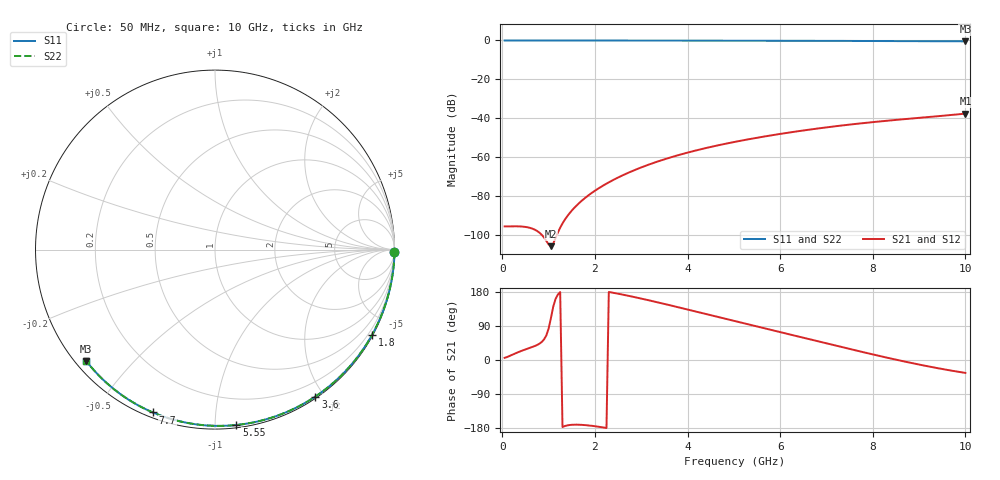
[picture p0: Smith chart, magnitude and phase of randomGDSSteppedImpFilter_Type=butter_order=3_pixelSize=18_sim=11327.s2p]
! freq	dB(S11)	phase(S11)	dB(S12)	phase(S12)
!  dB(S21)	phase(S21)	dB(S22)	phase(S22)
!S-par simulation data
#  GHz  S  DB  R 50
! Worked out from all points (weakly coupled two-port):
!   200 points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, 50 MHz to 10 GHz, reference 50 ohm
!   highest |S21| = -37.71 dB at 10 GHz (marker M1); lowest = -106.0 dB at 1.05 GHz (marker M2)
!   lowest |S11| = -0.5 dB at 10 GHz (marker M3), VSWR 38.14, Z = 1.49 - j18.7 ohm
!   |S11| at or under -10 dB: nowhere
!   |S22| runs from -0.5 to 0.0 dB; largest |S21 - S12| = 0
!   S11 on the Smith chart (normalised r, x): 50 MHz: open; 1.8 GHz: 0.03, -3.94; 3.6 GHz: 0.02, -1.89; 5.55 GHz: 0.02, -1.13; 7.7 GHz: 0.02, -0.69; 10 GHz: 0.03, -0.37
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0.05  -0.00 -0.8  -95.84 5.6  -95.84 5.6  -0.00 -0.8
0.55  -0.01 -8.8  -96.30 30.0  -96.30 30.0  -0.01 -8.8
1.05  -0.02 -16.8  -106.00 110.4  -106.00 110.4  -0.02 -16.8
1.75  -0.04 -27.7  -81.89 -171.4  -81.89 -171.4  -0.04 -27.7
1.8  -0.04 -28.5  -80.91 -171.9  -80.91 -171.9  -0.04 -28.5
1.85  -0.04 -29.3  -79.99 -172.5  -79.99 -172.5  -0.04 -29.3
2  -0.04 -31.6  -77.44 -174.7  -77.44 -174.7  -0.04 -31.6
2.15  -0.04 -33.9  -75.16 -177.4  -75.16 -177.4  -0.04 -33.9
2.35  -0.05 -37.0  -72.45 178.4  -72.45 178.4  -0.05 -37.0
2.55  -0.05 -40.0  -70.04 173.8  -70.04 173.8  -0.05 -40.0
2.95  -0.06 -46.1  -65.89 163.5  -65.89 163.5  -0.06 -46.1
3.4  -0.07 -52.8  -62.02 150.9  -62.02 150.9  -0.07 -52.8
3.6  -0.07 -55.7  -60.51 145.1  -60.51 145.1  -0.07 -55.7
4.3  -0.09 -65.8  -55.99 124.3  -55.99 124.3  -0.09 -65.8
5.05  -0.12 -76.3  -52.12 101.8  -52.12 101.8  -0.12 -76.3
5.55  -0.14 -83.1  -49.93 87.0  -49.93 87.0  -0.14 -83.1
6.1  -0.16 -90.4  -47.79 70.7  -47.79 70.7  -0.16 -90.4
6.7  -0.19 -98.2  -45.72 52.8  -45.72 52.8  -0.19 -98.2
7.7  -0.25 -110.9  -42.83 23.4  -42.83 23.4  -0.25 -110.9
8.35  -0.30 -119.0  -41.27 5.0  -41.27 5.0  -0.30 -119.0
9.2  -0.38 -129.3  -39.46 -16.9  -39.46 -16.9  -0.38 -129.3
10  -0.46 -139.1  -37.71 -34.1  -37.71 -34.1  -0.46 -139.1
